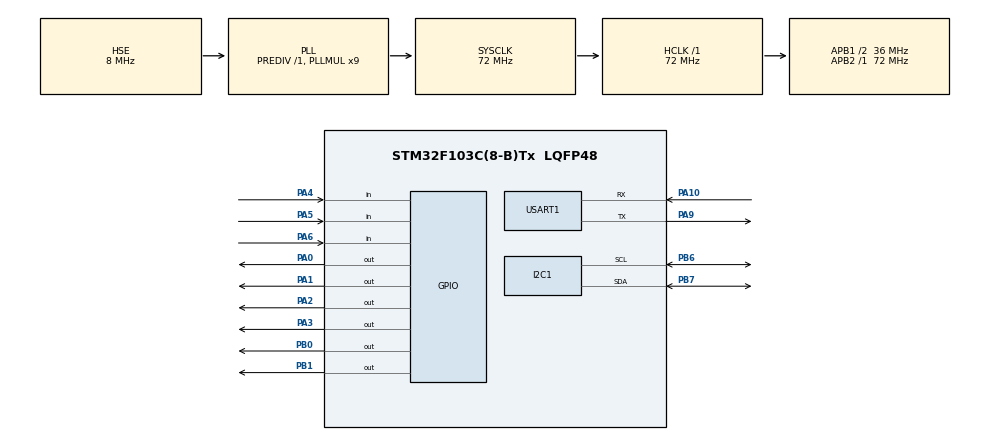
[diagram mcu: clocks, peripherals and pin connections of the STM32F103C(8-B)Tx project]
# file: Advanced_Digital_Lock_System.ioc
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Mcu.Family=STM32F1
Mcu.Name=STM32F103C(8-B)Tx
Mcu.Package=LQFP48
NVIC.PriorityGroup=NVIC_PRIORITYGROUP_4
NVIC.USART1_IRQn=true\:0\:0\:false\:false\:true\:true\:true\:true
PA0-WKUP.Signal=GPIO_Output
PA1.Signal=GPIO_Output
PA10.Mode=Asynchronous
PA10.Signal=USART1_RX
PA13.Mode=Serial_Wire
PA13.Signal=SYS_JTMS-SWDIO
PA14.Mode=Serial_Wire
PA14.Signal=SYS_JTCK-SWCLK
PA2.Signal=GPIO_Output
PA3.Signal=GPIO_Output
PA4.GPIO_PuPd=GPIO_PULLUP
PA4.Signal=GPIO_Input
PA5.GPIO_PuPd=GPIO_PULLUP
PA5.Signal=GPIO_Input
PA6.GPIO_PuPd=GPIO_PULLUP
PA6.Signal=GPIO_Input
PA9.Mode=Asynchronous
PA9.Signal=USART1_TX
PB0.Signal=GPIO_Output
PB1.Signal=GPIO_Output
PB6.Mode=I2C
PB6.Signal=I2C1_SCL
PB7.Mode=I2C
PB7.Signal=I2C1_SDA
PD0-OSC_IN.Mode=HSE-External-Oscillator
PD0-OSC_IN.Signal=RCC_OSC_IN
PD1-OSC_OUT.Mode=HSE-External-Oscillator
PD1-OSC_OUT.Signal=RCC_OSC_OUT
ProjectManager.HeapSize=0x200
ProjectManager.StackSize=0x400
ProjectManager.TargetToolchain=STM32CubeIDE
RCC.AHBFreq_Value=72000000
RCC.APB1CLKDivider=RCC_HCLK_DIV2
RCC.APB1Freq_Value=36000000
RCC.APB1TimFreq_Value=72000000
RCC.APB2Freq_Value=72000000
RCC.APB2TimFreq_Value=72000000
RCC.HCLKFreq_Value=72000000
RCC.PLLMUL=RCC_PLL_MUL9
RCC.PLLSourceVirtual=RCC_PLLSOURCE_HSE
RCC.SYSCLKFreq_VALUE=72000000
RCC.SYSCLKSource=RCC_SYSCLKSOURCE_PLLCLK
RCC.USBFreq_Value=72000000
USART1.VirtualMode=VM_ASYNC
board=custom

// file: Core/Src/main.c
/* USER CODE BEGIN Header */
/**
  ******************************************************************************
  * @file           : main.c
  * @brief          : Digital Lock - Clean Serial Output (No Key Echo)
  ******************************************************************************
  */
/* USER CODE END Header */

#include "main.h"
#include "ssd1306.h"
#include "ssd1306_fonts.h"
#include <stdio.h>
#include <string.h>

/* USER CODE BEGIN PD */
// --- Keypad & LED Definitions ---
#define R1_PORT GPIOA
#define R1_PIN  GPIO_PIN_0
#define R2_PORT GPIOA
#define R2_PIN  GPIO_PIN_1
#define R3_PORT GPIOA
#define R3_PIN  GPIO_PIN_2
#define R4_PORT GPIOA
#define R4_PIN  GPIO_PIN_3

#define C1_PORT GPIOA
#define C1_PIN  GPIO_PIN_4
#define C2_PORT GPIOA
#define C2_PIN  GPIO_PIN_5
#define C3_PORT GPIOA
#define C3_PIN  GPIO_PIN_6

#define LED_GREEN_PORT GPIOB
#define LED_GREEN_PIN  GPIO_PIN_0
#define LED_RED_PORT   GPIOB
#define LED_RED_PIN    GPIO_PIN_1
/* USER CODE END PD */

I2C_HandleTypeDef hi2c1;
UART_HandleTypeDef huart1;

/* USER CODE BEGIN PV */
// --- Password Logic Variables ---
uint8_t stored_password[4] = {1, 2, 3, 4};
uint8_t input_buffer[4] = {0};
uint8_t input_count = 0;
uint8_t wrong_attempts = 0;

// --- UART Interrupt Variables ---
uint8_t rx_byte;
uint8_t setup_buffer[4];
volatile uint8_t setup_count = 0;
volatile uint8_t config_mode = 1;

// --- System States ---
typedef enum {
    STATE_IDLE,
    STATE_CHECKING,
    STATE_GRANTED,
    STATE_WRONG,
    STATE_LOCKED
} SystemState;

SystemState current_state = STATE_IDLE;
uint32_t lockout_timer = 0;
/* USER CODE END PV */

void SystemClock_Config(void);
static void MX_GPIO_Init(void);
static void MX_I2C1_Init(void);
static void MX_USART1_UART_Init(void);

/* USER CODE BEGIN 0 */

// --- 4x3 Keypad Scanning ---
uint8_t Keypad_GetBinary(void) {
    uint8_t keys[4][3] = {
        {1, 2, 3}, {4, 5, 6}, {7, 8, 9}, {10, 0, 11}
    };

    for (int row = 0; row < 4; row++) {
        HAL_GPIO_WritePin(R1_PORT, R1_PIN, GPIO_PIN_SET);
        HAL_GPIO_WritePin(R2_PORT, R2_PIN, GPIO_PIN_SET);
        HAL_GPIO_WritePin(R3_PORT, R3_PIN, GPIO_PIN_SET);
        HAL_GPIO_WritePin(R4_PORT, R4_PIN, GPIO_PIN_SET);

        switch(row) {
            case 0: HAL_GPIO_WritePin(R1_PORT, R1_PIN, GPIO_PIN_RESET); break;
            case 1: HAL_GPIO_WritePin(R2_PORT, R2_PIN, GPIO_PIN_RESET); break;
            case 2: HAL_GPIO_WritePin(R3_PORT, R3_PIN, GPIO_PIN_RESET); break;
            case 3: HAL_GPIO_WritePin(R4_PORT, R4_PIN, GPIO_PIN_RESET); break;
        }

        if (HAL_GPIO_ReadPin(C1_PORT, C1_PIN) == GPIO_PIN_RESET) { HAL_Delay(200); return keys[row][0]; }
        if (HAL_GPIO_ReadPin(C2_PORT, C2_PIN) == GPIO_PIN_RESET) { HAL_Delay(200); return keys[row][1]; }
        if (HAL_GPIO_ReadPin(C3_PORT, C3_PIN) == GPIO_PIN_RESET) { HAL_Delay(200); return keys[row][2]; }
    }
    return 255;
}

// --- UART INTERRUPT CALLBACK ---
void HAL_UART_RxCpltCallback(UART_HandleTypeDef *huart)
{
    if (huart->Instance == USART1 && config_mode == 1)
    {
        // Filter: Only accept numbers 0-9
        if (rx_byte >= '0' && rx_byte <= '9') {
            setup_buffer[setup_count] = rx_byte - '0';
            setup_count++;

            // ECHO: Send digit back to PC
            HAL_UART_Transmit(&huart1, &rx_byte, 1, 100);

            if (setup_count >= 4) {
                stored_password[0] = setup_buffer[0];
                stored_password[1] = setup_buffer[1];
                stored_password[2] = setup_buffer[2];
                stored_password[3] = setup_buffer[3];
                config_mode = 0; // Exit loop
            }
        }
        HAL_UART_Receive_IT(&huart1, &rx_byte, 1);
    }
}
/* USER CODE END 0 */

int main(void)
{
  HAL_Init();
  SystemClock_Config();
  MX_GPIO_Init();
  MX_I2C1_Init();
  MX_USART1_UART_Init();

  /* USER CODE BEGIN 2 */
  // --- Init OLED ---
  ssd1306_Init();
  ssd1306_Fill(Black);
  ssd1306_SetCursor(10, 10);
  ssd1306_WriteString("SYSTEM BOOT", Font_7x10, White);
  ssd1306_UpdateScreen();

  HAL_Delay(1000);

  // --- CONFIGURATION MODE ---
  ssd1306_Fill(Black);
  ssd1306_SetCursor(5, 20);
  ssd1306_WriteString("SET PASSWORD", Font_7x10, White);
  ssd1306_SetCursor(5, 40);
  ssd1306_WriteString("KEYPAD OR UART", Font_7x10, White);
  ssd1306_UpdateScreen();

  char msg[] = "\r\n\r\n=== SYSTEM STARTUP ===\r\nEnter 4-digit password:\r\n";
  HAL_UART_Transmit(&huart1, (uint8_t*)msg, sizeof(msg), 1000);

  // Start UART Listening
  HAL_UART_Receive_IT(&huart1, &rx_byte, 1);

  // --- SETUP LOOP: LISTENS TO BOTH KEYPAD AND UART ---
  while (config_mode == 1) {

      // 1. Check Keypad
      uint8_t key = Keypad_GetBinary();

      // If a valid number key (0-9) is pressed
      if (key <= 9) {
          setup_buffer[setup_count] = key;
          setup_count++;

          // Echo only during setup so user knows it registered
          char k_msg[2];
          sprintf(k_msg, "%d", key);
          HAL_UART_Transmit(&huart1, (uint8_t*)k_msg, 1, 100);

          // Check if done
          if (setup_count >= 4) {
                stored_password[0] = setup_buffer[0];
                stored_password[1] = setup_buffer[1];
                stored_password[2] = setup_buffer[2];
                stored_password[3] = setup_buffer[3];
                config_mode = 0; // Exit loop
          }
      }
      HAL_Delay(50);
  }

  char done_msg[] = "\r\nPassword Saved! System Ready.\r\n";
  HAL_UART_Transmit(&huart1, (uint8_t*)done_msg, sizeof(done_msg), 1000);

  // --- IDLE MODE ---
  ssd1306_Fill(Black);
  ssd1306_SetCursor(5, 20);
  ssd1306_WriteString("ENTER PASSWORD", Font_7x10, White);
  ssd1306_UpdateScreen();
  /* USER CODE END 2 */

  /* Infinite loop */
  /* USER CODE BEGIN WHILE */
  while (1)
  {
      // ---------------------------------------------------------
      // 1. STATE: LOCKED
      // ---------------------------------------------------------
      if (current_state == STATE_LOCKED) {
          uint32_t elapsed_time = HAL_GetTick() - lockout_timer;
          int16_t seconds_left = 30 - (elapsed_time / 1000);

          if (seconds_left < 0) {
              current_state = STATE_IDLE;
              wrong_attempts = 0;
              ssd1306_Fill(Black);
              ssd1306_SetCursor(5, 20);
              ssd1306_WriteString("ENTER PASSWORD", Font_7x10, White);
              ssd1306_UpdateScreen();
              HAL_GPIO_WritePin(LED_RED_PORT, LED_RED_PIN, GPIO_PIN_RESET);

              HAL_UART_Transmit(&huart1, (uint8_t*)"\r\n[SYSTEM] Unlocked via Timer\r\n", 29, 100);
          }
          else {
              static uint8_t last_disp = 255;
              if (seconds_left != last_disp) {
                  last_disp = seconds_left;
                  ssd1306_Fill(Black);
                  ssd1306_SetCursor(10, 5);
                  ssd1306_WriteString("SYSTEM LOCKED", Font_7x10, White);
                  char t_msg[20];
                  sprintf(t_msg, "TRY AFTER %ds", seconds_left);
                  ssd1306_SetCursor(10, 25);
                  ssd1306_WriteString(t_msg, Font_7x10, White);
                  ssd1306_UpdateScreen();
                  HAL_GPIO_TogglePin(LED_RED_PORT, LED_RED_PIN);
              }
          }
          continue;
      }

      // ---------------------------------------------------------
      // 2. STATE: IDLE (Keypad Logic)
      // ---------------------------------------------------------
      uint8_t key = Keypad_GetBinary();

      if (key != 255) {
          if (key <= 9) {
              if (input_count < 4) {
                  input_buffer[input_count] = key;
                  input_count++;

                  // Update OLED with '*'
                  ssd1306_SetCursor(10 + (input_count * 10), 40);
                  ssd1306_WriteString("*", Font_11x18, White);
                  ssd1306_UpdateScreen();

                  // REMOVED SERIAL ECHO HERE
              }
          }
          else if (key == 11) { // Enter (#)
              // REMOVED SERIAL ECHO HERE
              if (input_count == 4) {
                  current_state = STATE_CHECKING;
              }
          }
          else if (key == 10) { // Clear (*)
              input_count = 0;
              // REMOVED SERIAL ECHO HERE
              ssd1306_Fill(Black);
              ssd1306_SetCursor(5, 20);
              ssd1306_WriteString("ENTER PASSWORD", Font_7x10, White);
              ssd1306_UpdateScreen();
          }
      }

      // ---------------------------------------------------------
      // 3. CHECK PASSWORD
      // ---------------------------------------------------------
      if (current_state == STATE_CHECKING) {
          int match = 1;
          for (int i = 0; i < 4; i++) {
              if (input_buffer[i] != stored_password[i]) { match = 0; break; }
          }

          if (match) current_state = STATE_GRANTED;
          else current_state = STATE_WRONG;
          input_count = 0;
      }

      // ---------------------------------------------------------
      // 4. ACCESS GRANTED
      // ---------------------------------------------------------
      if (current_state == STATE_GRANTED) {
          ssd1306_Fill(Black);
          ssd1306_SetCursor(10, 20);
          ssd1306_WriteString("ACCESS GRANTED", Font_7x10, White);
          ssd1306_UpdateScreen();
          HAL_GPIO_WritePin(LED_GREEN_PORT, LED_GREEN_PIN, GPIO_PIN_SET);

          HAL_UART_Transmit(&huart1, (uint8_t*)"[STATUS] Access Granted\r\n", 25, 100);

          HAL_Delay(3000);
          HAL_GPIO_WritePin(LED_GREEN_PORT, LED_GREEN_PIN, GPIO_PIN_RESET);
          wrong_attempts = 0;
          current_state = STATE_IDLE;
          ssd1306_Fill(Black);
          ssd1306_SetCursor(5, 20);
          ssd1306_WriteString("ENTER PASSWORD", Font_7x10, White);
          ssd1306_UpdateScreen();
      }

      // ---------------------------------------------------------
      // 5. WRONG PASSWORD
      // ---------------------------------------------------------
      if (current_state == STATE_WRONG) {
          wrong_attempts++;
          ssd1306_Fill(Black);
          ssd1306_SetCursor(10, 20);
          ssd1306_WriteString("WRONG PASSWORD", Font_7x10, White);
          ssd1306_UpdateScreen();
          HAL_GPIO_WritePin(LED_RED_PORT, LED_RED_PIN, GPIO_PIN_SET);

          HAL_UART_Transmit(&huart1, (uint8_t*)"[STATUS] Wrong Password\r\n", 25, 100);

          HAL_Delay(1000);
          HAL_GPIO_WritePin(LED_RED_PORT, LED_RED_PIN, GPIO_PIN_RESET);

          if (wrong_attempts >= 3) {
              current_state = STATE_LOCKED;
              lockout_timer = HAL_GetTick();

              HAL_UART_Transmit(&huart1, (uint8_t*)"[STATUS] SYSTEM LOCKED\r\n", 24, 100);

              ssd1306_Fill(Black);
              ssd1306_SetCursor(10, 10);
              ssd1306_WriteString("SYSTEM LOCKED", Font_7x10, White);
              ssd1306_UpdateScreen();
          } else {
              current_state = STATE_IDLE;
              ssd1306_Fill(Black);
              ssd1306_SetCursor(5, 20);
              ssd1306_WriteString("ENTER PASSWORD", Font_7x10, White);
              ssd1306_UpdateScreen();
          }
      }
    /* USER CODE END WHILE */
  }
}

void SystemClock_Config(void)
{
  RCC_OscInitTypeDef RCC_OscInitStruct = {0};
  RCC_ClkInitTypeDef RCC_ClkInitStruct = {0};

  RCC_OscInitStruct.OscillatorType = RCC_OSCILLATORTYPE_HSE;
  RCC_OscInitStruct.HSEState = RCC_HSE_ON;
  RCC_OscInitStruct.HSEPredivValue = RCC_HSE_PREDIV_DIV1;
  RCC_OscInitStruct.HSIState = RCC_HSI_ON;
  RCC_OscInitStruct.PLL.PLLState = RCC_PLL_ON;
  RCC_OscInitStruct.PLL.PLLSource = RCC_PLLSOURCE_HSE;
  RCC_OscInitStruct.PLL.PLLMUL = RCC_PLL_MUL9;
  if (HAL_RCC_OscConfig(&RCC_OscInitStruct) != HAL_OK)
  {
    Error_Handler();
  }

  RCC_ClkInitStruct.ClockType = RCC_CLOCKTYPE_HCLK|RCC_CLOCKTYPE_SYSCLK
                              |RCC_CLOCKTYPE_PCLK1|RCC_CLOCKTYPE_PCLK2;
  RCC_ClkInitStruct.SYSCLKSource = RCC_SYSCLKSOURCE_PLLCLK;
  RCC_ClkInitStruct.AHBCLKDivider = RCC_SYSCLK_DIV1;
  RCC_ClkInitStruct.APB1CLKDivider = RCC_HCLK_DIV2;
  RCC_ClkInitStruct.APB2CLKDivider = RCC_HCLK_DIV1;

  if (HAL_RCC_ClockConfig(&RCC_ClkInitStruct, FLASH_LATENCY_2) != HAL_OK)
  {
    Error_Handler();
  }
}

static void MX_I2C1_Init(void)
{
  hi2c1.Instance = I2C1;
  hi2c1.Init.ClockSpeed = 400000;
  hi2c1.Init.DutyCycle = I2C_DUTYCYCLE_2;
  hi2c1.Init.OwnAddress1 = 0;
  hi2c1.Init.AddressingMode = I2C_ADDRESSINGMODE_7BIT;
  hi2c1.Init.DualAddressMode = I2C_DUALADDRESS_DISABLE;
  hi2c1.Init.OwnAddress2 = 0;
  hi2c1.Init.GeneralCallMode = I2C_GENERALCALL_DISABLE;
  hi2c1.Init.NoStretchMode = I2C_NOSTRETCH_DISABLE;
  if (HAL_I2C_Init(&hi2c1) != HAL_OK)
  {
    Error_Handler();
  }
}

static void MX_USART1_UART_Init(void)
{
  huart1.Instance = USART1;
  huart1.Init.BaudRate = 9600;
  huart1.Init.WordLength = UART_WORDLENGTH_8B;
  huart1.Init.StopBits = UART_STOPBITS_1;
  huart1.Init.Parity = UART_PARITY_NONE;
  huart1.Init.Mode = UART_MODE_TX_RX;
  huart1.Init.HwFlowCtl = UART_HWCONTROL_NONE;
  huart1.Init.OverSampling = UART_OVERSAMPLING_16;
  if (HAL_UART_Init(&huart1) != HAL_OK)
  {
    Error_Handler();
  }
}

static void MX_GPIO_Init(void)
{
  GPIO_InitTypeDef GPIO_InitStruct = {0};

  __HAL_RCC_GPIOD_CLK_ENABLE();
  __HAL_RCC_GPIOA_CLK_ENABLE();
  __HAL_RCC_GPIOB_CLK_ENABLE();

  HAL_GPIO_WritePin(GPIOA, GPIO_PIN_0|GPIO_PIN_1|GPIO_PIN_2|GPIO_PIN_3, GPIO_PIN_RESET);
  HAL_GPIO_WritePin(GPIOB, GPIO_PIN_0|GPIO_PIN_1, GPIO_PIN_RESET);

  // Keypad Rows (Output)
  GPIO_InitStruct.Pin = GPIO_PIN_0|GPIO_PIN_1|GPIO_PIN_2|GPIO_PIN_3;
  GPIO_InitStruct.Mode = GPIO_MODE_OUTPUT_PP;
  GPIO_InitStruct.Pull = GPIO_NOPULL;
  GPIO_InitStruct.Speed = GPIO_SPEED_FREQ_LOW;
  HAL_GPIO_Init(GPIOA, &GPIO_InitStruct);

  // Keypad Cols (Input with Pull-Up)
  GPIO_InitStruct.Pin = GPIO_PIN_4|GPIO_PIN_5|GPIO_PIN_6;
  GPIO_InitStruct.Mode = GPIO_MODE_INPUT;
  GPIO_InitStruct.Pull = GPIO_PULLUP;
  HAL_GPIO_Init(GPIOA, &GPIO_InitStruct);

  // LEDs (Output)
  GPIO_InitStruct.Pin = GPIO_PIN_0|GPIO_PIN_1;
  GPIO_InitStruct.Mode = GPIO_MODE_OUTPUT_PP;
  GPIO_InitStruct.Pull = GPIO_NOPULL;
  GPIO_InitStruct.Speed = GPIO_SPEED_FREQ_LOW;
  HAL_GPIO_Init(GPIOB, &GPIO_InitStruct);
}

void Error_Handler(void)
{
  __disable_irq();
  while (1) { }
}
